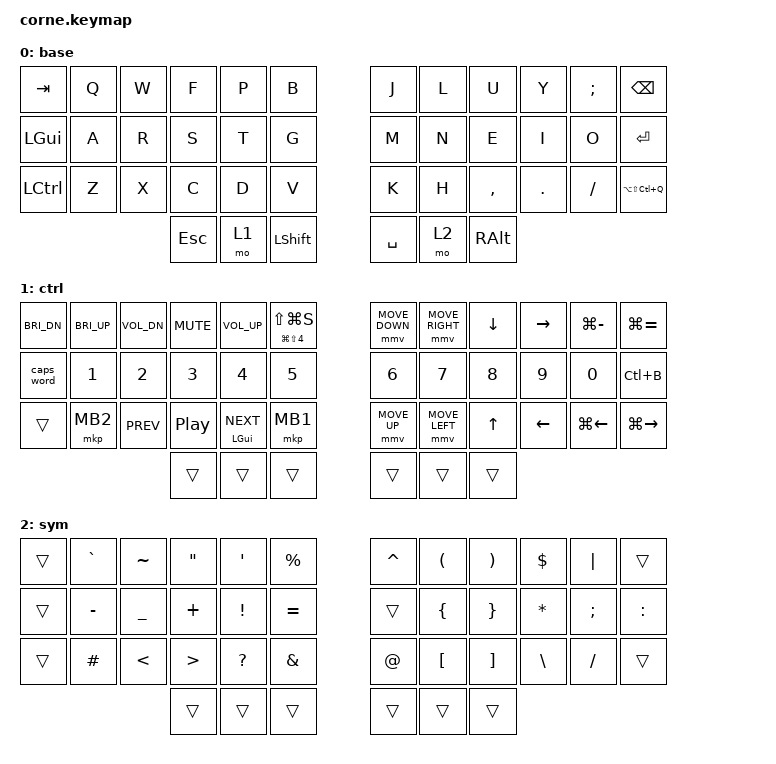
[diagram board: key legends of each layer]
/*
 * Copyright (c) 2020 The ZMK Contributors
 *
 * SPDX-License-Identifier: MIT
 */

#include <behaviors.dtsi>
#include <dt-bindings/zmk/keys.h>
#include <dt-bindings/zmk/pointing.h>
#include <dt-bindings/zmk/pointing.h>

/ {
    behaviors {
        HMR: HMR {
            compatible = "zmk,behavior-hold-tap";
            label = "HMR";
            bindings = <&kp>, <&kp>;

            #binding-cells = <2>;
            tapping-term-ms = <200>;
            flavor = "balanced";
            hold-trigger-on-release;
            hold-trigger-key-positions = <0 1 2 3 4 5 17 16 15 14 13 12 24 26 25 27 28 29>;
            require-prior-idle-ms = <100>;
        };

        HML: HML {
            compatible = "zmk,behavior-hold-tap";
            label = "HML";
            bindings = <&kp>, <&kp>;

            #binding-cells = <2>;
            tapping-term-ms = <200>;
            flavor = "balanced";
            hold-trigger-on-release;
            require-prior-idle-ms = <100>;
            hold-trigger-key-positions = <30 18 6 7 19 31 32 20 8 10 9 21 33 35 22 34 23 11>;
        };
    };

    combos {
        compatible = "zmk,combos";

        hyperm {
            bindings = <&kp LC(LA(LS(LG(M))))>;
            key-positions = <32 31 33>;
        };

        hypere {
            bindings = <&kp LS(LA(LC(LG(E))))>;
            key-positions = <27 28 26>;
        };
    };

    keymap {
        compatible = "zmk,keymap";

        base {
            display-name = "base";
            bindings = <
&kp TAB    &kp Q  &kp W  &kp F    &kp P  &kp B        &kp J      &kp L  &kp U          &kp Y    &kp SEMI  &kp BACKSPACE
&kp LGUI   &kp A  &kp R  &kp S    &kp T  &kp G        &kp M      &kp N  &kp E          &kp I    &kp O     &kp RET
&kp LCTRL  &kp Z  &kp X  &kp C    &kp D  &kp V        &kp K      &kp H  &kp COMMA      &kp DOT  &kp FSLH  &kp LA(LS(LC(Q)))
                         &kp ESC  &mo 1  &kp LSHFT    &kp SPACE  &mo 2  &kp RIGHT_ALT
            >;
        };

        ctrl {
            display-name = "ctrl";
            bindings = <
&kp C_BRI_DN  &kp C_BRI_UP  &kp C_VOL_DN  &kp C_MUTE  &kp C_VOL_UP      &HML LG(LS(N4)) LS(LG(S))    &mmv MOVE_DOWN  &mmv MOVE_RIGHT  &kp DOWN  &kp RIGHT  &kp LG(MINUS)  &kp LG(EQUAL)
&caps_word    &kp N1        &kp N2        &kp N3      &kp N4            &kp N5                       &kp N6          &kp N7           &kp N8    &kp N9     &kp N0         &kp LC(B)
&trans        &mkp MB2      &kp C_PREV    &kp C_PP    &HML LGUI C_NEXT  &mkp MB1                     &mmv MOVE_UP    &mmv MOVE_LEFT   &kp UP    &kp LEFT   &kp LG(LEFT)   &kp LG(RIGHT)
                                          &trans      &trans            &trans                       &trans          &trans           &trans
            >;
        };

        sym {
            display-name = "sym";
            bindings = <
&trans  &kp GRAVE  &kp TILDE  &kp DQT   &kp SQT    &kp PRCNT    &kp CARET  &kp LPAR  &kp RPAR  &kp DLLR  &kp PIPE  &trans
&trans  &kp MINUS  &kp UNDER  &kp PLUS  &kp EXCL   &kp EQUAL    &trans     &kp LBRC  &kp RBRC  &kp STAR  &kp SEMI  &kp COLON
&trans  &kp HASH   &kp LT     &kp GT    &kp QMARK  &kp AMPS     &kp AT     &kp LBKT  &kp RBKT  &kp BSLH  &kp FSLH  &trans
                              &trans    &trans     &trans       &trans     &trans    &trans
            >;
        };
    };
};
